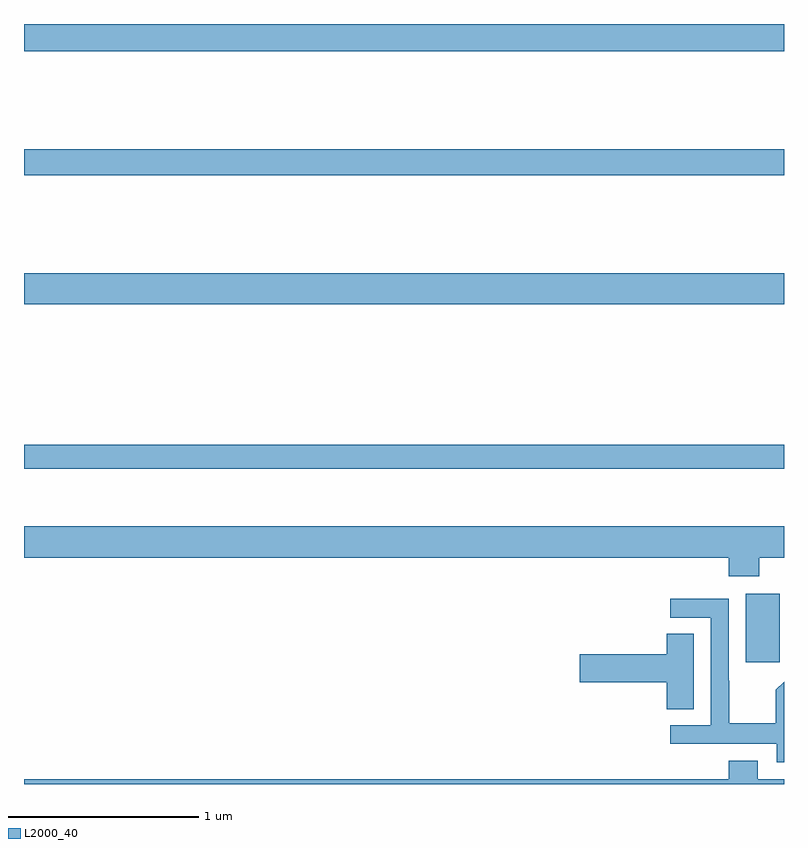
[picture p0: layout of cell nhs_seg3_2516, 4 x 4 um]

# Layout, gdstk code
import gdstk
lib = gdstk.Library(unit=1e-6, precision=1e-09)
def R(c, l, rs):  # rectangles x0, y0, x1, y1
    for r in rs: c.add(gdstk.rectangle(r[:2], r[2:], *l))
def P(c, l, *ps):  # polygons
    for p in ps: c.add(gdstk.Polygon(p, *l))
L2000_40 = (2000, 40)

nhs_seg3_2516 = lib.new_cell('nhs_seg3_2516')
R(nhs_seg3_2516, L2000_40, [(244.799,691.041,244.978,691.402), (241,692.058,245,692.186), (241,692.924,245,693.088), (241,693.604,245,693.74), (241,694.256,245,694.4)])
P(nhs_seg3_2516, L2000_40, [(244.869,691.592),(245,691.592),(245,691.756),(241,691.756),(241,691.592),(244.709,691.592),(244.709,691.493),(244.869,691.493)],
  [(245,690.938),(244.957,690.895),(244.957,690.721),(244.713,690.721),(244.713,690.944),(244.71,690.944),(244.71,691.374),(244.401,691.374),(244.401,691.275),(244.614,691.275),(244.614,690.708),(244.401,690.708),(244.401,690.612),(244.962,690.612),(244.962,690.515),(245,690.515)],
  [(244.525,691.19),(244.382,691.19),(244.382,691.082),(243.924,691.082),(243.924,690.935),(244.382,690.935),(244.382,690.793),(244.525,690.793)],
  [(245,690.424),(244.861,690.424),(244.861,690.523),(244.709,690.523),(244.709,690.424),(241,690.424),(241,690.4),(245,690.4)])

lib.write_gds('nhs_seg3_2516.gds')
